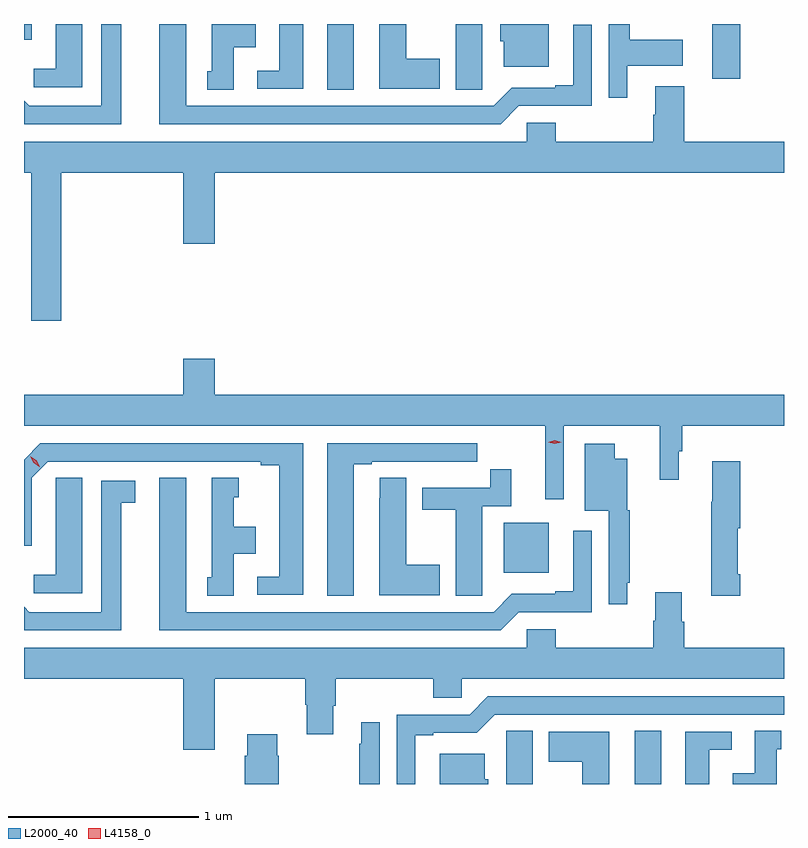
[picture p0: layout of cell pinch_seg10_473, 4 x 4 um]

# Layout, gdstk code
import gdstk
lib = gdstk.Library(unit=1e-6, precision=1e-09)
def R(c, l, rs):  # rectangles x0, y0, x1, y1
    for r in rs: c.add(gdstk.rectangle(r[:2], r[2:], *l))
def P(c, l, *ps):  # polygons
    for p in ps: c.add(gdstk.Polygon(p, *l))
L2000_40 = (2000, 40)
L4158_0 = (4158, 0)

pinch_seg10_473 = lib.new_cell('pinch_seg10_473')
R(pinch_seg10_473, L2000_40, [(203.348,1299.763,203.488,1300.043), (202.658,1300.874,202.894,1301.137), (201.728,1303.417,201.868,1303.763), (203.756,1303.476,203.903,1303.763), (200.133,1303.68,200.175,1303.763)])
P(pinch_seg10_473, L2000_40, [(202.894,1303.763),(202.64,1303.763),(202.64,1303.671),(202.658,1303.671),(202.658,1303.538),(202.894,1303.538)],
  [(202.321,1303.581),(202.144,1303.581),(202.144,1303.763),(202.004,1303.763),(202.004,1303.421),(202.321,1303.421)],
  [(201.238,1303.64),(201.352,1303.64),(201.352,1303.763),(201.122,1303.763),(201.122,1303.515),(201.098,1303.515),(201.098,1303.417),(201.238,1303.417)],
  [(202.545,1303.528),(202.546,1303.528),(202.546,1303.763),(202.406,1303.763),(202.406,1303.417),(202.545,1303.417)],
  [(203.308,1303.544),(203.599,1303.544),(203.599,1303.679),(203.32,1303.679),(203.32,1303.763),(203.211,1303.763),(203.211,1303.374),(203.308,1303.374)],
  [(202.737,1303.332),(203.121,1303.332),(203.121,1303.759),(203.024,1303.759),(203.024,1303.441),(202.928,1303.441),(202.928,1303.428),(202.701,1303.428),(202.605,1303.332),(200.986,1303.332),(200.986,1303.763),(200.846,1303.763),(200.846,1303.236),(202.641,1303.236)],
  [(201.604,1303.763),(201.476,1303.763),(201.476,1303.518),(201.36,1303.518),(201.36,1303.422),(201.604,1303.422)],
  [(200.44,1303.763),(200.3,1303.763),(200.3,1303.528),(200.184,1303.528),(200.184,1303.431),(200.44,1303.431)],
  [(200.644,1303.763),(200.54,1303.763),(200.54,1303.332),(200.16,1303.332),(200.133,1303.359),(200.133,1303.236),(200.644,1303.236)],
  [(200.33,1302.98),(200.972,1302.98),(200.972,1302.606),(201.136,1302.606),(201.136,1302.98),(204.133,1302.98),(204.133,1303.144),(203.609,1303.144),(203.609,1303.435),(203.456,1303.435),(203.456,1303.286),(203.444,1303.286),(203.444,1303.144),(202.931,1303.144),(202.931,1303.242),(202.779,1303.242),(202.779,1303.144),(200.133,1303.144),(200.133,1302.98),(200.17,1302.98),(200.17,1302.201),(200.33,1302.201)],
  [(202.974,1301.648),(203.479,1301.648),(203.479,1301.364),(203.578,1301.364),(203.578,1301.514),(203.597,1301.514),(203.597,1301.648),(204.133,1301.648),(204.133,1301.812),(201.136,1301.812),(201.136,1302.001),(200.972,1302.001),(200.972,1301.812),(200.133,1301.812),(200.133,1301.648),(202.877,1301.648),(202.877,1301.262),(202.974,1301.262)],
  [(201.868,1301.445),(201.964,1301.445),(201.964,1301.46),(202.24,1301.46),(202.24,1301.459),(202.406,1301.459),(202.406,1301.46),(202.519,1301.46),(202.519,1301.556),(201.728,1301.556),(201.728,1300.753),(201.868,1300.753)],
  [(201.604,1301.556),(200.219,1301.556),(200.133,1301.47),(200.133,1301.016),(200.175,1301.016),(200.175,1301.376),(200.259,1301.46),(201.38,1301.46),(201.38,1301.44),(201.476,1301.44),(201.476,1300.854),(201.36,1300.854),(201.36,1300.758),(201.604,1300.758)],
  [(203.308,1300.822),(203.32,1300.822),(203.32,1301.205),(203.308,1301.205),(203.308,1301.476),(203.242,1301.476),(203.242,1301.554),(203.084,1301.554),(203.084,1301.201),(203.211,1301.201),(203.211,1300.71),(203.308,1300.71)],
  [(203.903,1300.867),(203.89,1300.867),(203.89,1301.108),(203.903,1301.108),(203.903,1301.461),(203.756,1301.461),(203.756,1301.248),(203.749,1301.248),(203.749,1300.755),(203.903,1300.755)],
  [(202.545,1300.864),(202.546,1300.864),(202.546,1301.226),(202.697,1301.226),(202.697,1301.419),(202.588,1301.419),(202.588,1301.322),(202.229,1301.322),(202.229,1301.206),(202.406,1301.206),(202.406,1300.753),(202.545,1300.753)],
  [(200.44,1301.375),(200.301,1301.375),(200.301,1301.267),(200.3,1301.267),(200.3,1300.864),(200.184,1300.864),(200.184,1300.767),(200.44,1300.767)],
  [(202.321,1300.917),(202.144,1300.917),(202.144,1301.375),(202.005,1301.375),(202.005,1301.267),(202.004,1301.267),(202.004,1300.757),(202.321,1300.757)],
  [(201.238,1300.976),(201.352,1300.976),(201.352,1301.116),(201.238,1301.116),(201.238,1301.271),(201.262,1301.271),(201.262,1301.374),(201.122,1301.374),(201.122,1300.851),(201.098,1300.851),(201.098,1300.753),(201.238,1300.753)],
  [(202.737,1300.668),(203.121,1300.668),(203.121,1301.095),(203.024,1301.095),(203.024,1300.777),(202.928,1300.777),(202.928,1300.764),(202.701,1300.764),(202.605,1300.668),(200.986,1300.668),(200.986,1301.374),(200.846,1301.374),(200.846,1300.572),(202.641,1300.572)],
  [(200.644,1301.242),(200.719,1301.242),(200.719,1301.358),(200.54,1301.358),(200.54,1300.668),(200.16,1300.668),(200.133,1300.695),(200.133,1300.572),(200.644,1300.572)],
  [(201.136,1300.316),(201.613,1300.316),(201.613,1300.179),(201.62,1300.179),(201.62,1300.026),(201.76,1300.026),(201.76,1300.174),(201.773,1300.174),(201.773,1300.316),(202.286,1300.316),(202.286,1300.218),(202.437,1300.218),(202.437,1300.316),(204.133,1300.316),(204.133,1300.48),(203.609,1300.48),(203.609,1300.617),(203.596,1300.617),(203.596,1300.771),(203.456,1300.771),(203.456,1300.622),(203.444,1300.622),(203.444,1300.48),(202.931,1300.48),(202.931,1300.578),(202.779,1300.578),(202.779,1300.48),(200.133,1300.48),(200.133,1300.316),(200.972,1300.316),(200.972,1299.942),(201.136,1299.942)],
  [(202.192,1300.02),(202.288,1300.02),(202.288,1300.032),(202.515,1300.032),(202.611,1300.128),(204.133,1300.128),(204.133,1300.224),(202.575,1300.224),(202.479,1300.128),(202.095,1300.128),(202.095,1299.763),(202.192,1299.763)],
  [(202.005,1300.087),(201.908,1300.087),(201.908,1299.974),(201.897,1299.974),(201.897,1299.763),(202.005,1299.763)],
  [(202.81,1300.043),(202.671,1300.043),(202.671,1299.932),(202.67,1299.932),(202.67,1299.763),(202.81,1299.763)],
  [(204.094,1299.945),(204.118,1299.945),(204.118,1300.043),(203.978,1300.043),(203.978,1299.82),(203.864,1299.82),(203.864,1299.763),(204.094,1299.763)],
  [(203.212,1300.039),(202.895,1300.039),(202.895,1299.88),(203.072,1299.88),(203.072,1299.763),(203.212,1299.763)],
  [(203.74,1299.942),(203.857,1299.942),(203.857,1300.038),(203.612,1300.038),(203.612,1299.763),(203.74,1299.763)],
  [(201.474,1299.911),(201.466,1299.911),(201.466,1300.024),(201.308,1300.024),(201.308,1299.911),(201.296,1299.911),(201.296,1299.763),(201.474,1299.763)],
  [(202.576,1299.789),(202.558,1299.789),(202.558,1299.922),(202.322,1299.922),(202.322,1299.763),(202.576,1299.763)])
P(pinch_seg10_473, L4158_0, [(202.926,1301.553),(202.892,1301.563),(202.891,1301.563),(202.892,1301.563),(202.926,1301.573),(202.961,1301.563),(202.961,1301.563),(202.961,1301.563)],
  [(200.214,1301.433),(200.184,1301.454),(200.167,1301.487),(200.167,1301.487),(200.167,1301.487),(200.198,1301.467),(200.215,1301.434),(200.215,1301.433)])

lib.write_gds('pinch_seg10_473.gds')
